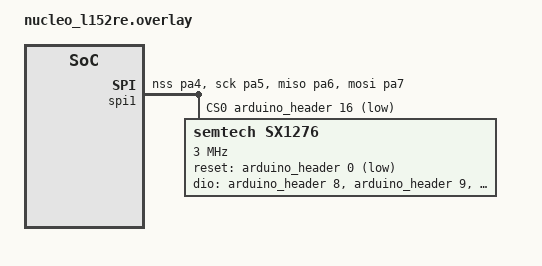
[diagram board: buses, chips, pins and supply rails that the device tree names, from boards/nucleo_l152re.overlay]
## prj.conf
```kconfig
CONFIG_LOG=y
CONFIG_SPI=y
CONFIG_GPIO=y
CONFIG_LORA=y
CONFIG_LORA_SX12XX=y
CONFIG_LORA_SX127X=y
# CONFIG_LORAWAN=y
CONFIG_PRINTK=y
# CONFIG_LORAMAC_REGION_IN865=y
# CONFIG_LORAMAC_REGION_US915=y
# CONFIG_SPI_LOG_LEVEL_DBG=y
CONFIG_LORA_LOG_LEVEL_DBG=y
# CONFIG_LORAWAN_LOG_LEVEL_DBG=y

CONFIG_MAIN_STACK_SIZE=2048
CONFIG_SYSTEM_WORKQUEUE_STACK_SIZE=2048
```

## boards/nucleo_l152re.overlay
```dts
/ {
	aliases {
		lora0 = &lora;
	};
};

arduino_spi: &spi1 {};

&arduino_spi {
    status = "okay";

	pinctrl-0 = <&spi1_nss_pa4 &spi1_sck_pa5
		     &spi1_miso_pa6 &spi1_mosi_pa7>;

	pinctrl-names = "default";

	cs-gpios = <&arduino_header 16 GPIO_ACTIVE_LOW>;	/* D10 */

	lora: lora@0 {
		compatible = "semtech,sx1276";
		reg = <0x0>;
		label = "sx1276";
		spi-max-frequency = <3000000>;

		reset-gpios = <&arduino_header 0 GPIO_ACTIVE_LOW>;   /* A0 */

		dio-gpios = <&arduino_header 8 (GPIO_PULL_DOWN | GPIO_ACTIVE_HIGH)>,	   /* DIO0 is D2 */
		            <&arduino_header 9 (GPIO_PULL_DOWN | GPIO_ACTIVE_HIGH)>,	   /* DIO1 is D3 */
			    <&arduino_header 10 (GPIO_PULL_DOWN | GPIO_ACTIVE_HIGH)>,	   /* DIO2 is D4 */
			    <&arduino_header 11 (GPIO_PULL_DOWN | GPIO_ACTIVE_HIGH)>;	   /* DIO3 is D5 */

		power-amplifier-output = "rfo";
	};
};
```

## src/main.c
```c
/*
 * Class A LoRaWAN sample application
 *
 * Copyright (c) 2020 Manivannan Sadhasivam <mani@kernel.org>
 *
 * SPDX-License-Identifier: Apache-2.0
 */

#include <zephyr/device.h>
#include <zephyr/drivers/lora.h>
#include <zephyr/sys/util.h>
#include <zephyr/zephyr.h>

#define DEFAULT_RADIO_NODE DT_ALIAS(lora0)
BUILD_ASSERT(DT_NODE_HAS_STATUS(DEFAULT_RADIO_NODE, okay),
             "No default LoRa radio specified in DT");
#define DEFAULT_RADIO DT_LABEL(DEFAULT_RADIO_NODE)


#define DELAY K_MSEC(500)

#define LOG_LEVEL CONFIG_LOG_DEFAULT_LEVEL
#include <zephyr/logging/log.h>
LOG_MODULE_REGISTER(lora_send);

#define MAX_DATA_LEN 10

char data[MAX_DATA_LEN] = {'h', 'e', 'l', 'l', 'o', 'w', 'o', 'r', 'l', 'd'};
#define RF_FREQUENCY                                915000000 // Hz
// #define RF_FREQUENCY                                470000000 // Hz

void main(void)
{
  int ret = 0;
  const struct device *lora_dev = DEVICE_DT_GET(DEFAULT_RADIO_NODE);

  if (!device_is_ready(lora_dev)) {
    LOG_ERR("%s Device not ready", lora_dev->name);
    return;
  }

  struct lora_modem_config config = {
    .frequency = RF_FREQUENCY,
    .bandwidth = BW_125_KHZ,
    .datarate = SF_12,
    .coding_rate = CR_4_8,
    .preamble_len = 10,
    .tx_power = 14,
    .tx = true,
  };

  ret = lora_config(lora_dev, &config);
  if (ret < 0) {
    LOG_ERR("LoRa config failed");
    return ;
  }

  while (1) {
    ret = lora_send(lora_dev, data, MAX_DATA_LEN);

    if (ret < 0) {
      LOG_ERR("failed to send data");
      return ;
    }
    k_sleep(DELAY);
  }
}
```
